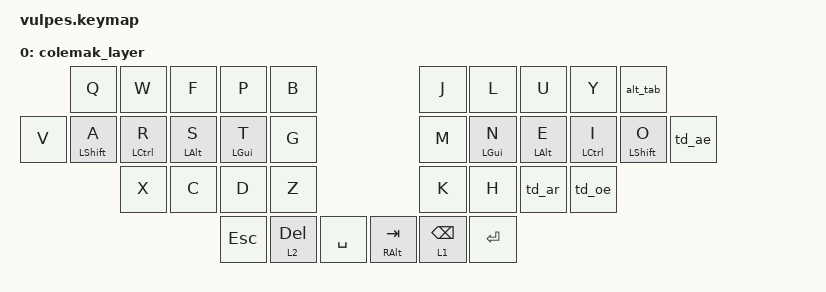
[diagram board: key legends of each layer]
#include <behaviors.dtsi>
#include <dt-bindings/zmk/keys.h>
#include <dt-bindings/zmk/bt.h>
#include <dt-bindings/zmk/outputs.h>

/ {
    behaviors {
        hm: homerow_mods {
            compatible = "zmk,behavior-hold-tap";
            label = "HOMEROW_MODS";
            #binding-cells = <2>;
            tapping-term-ms = <180>;
            quick-tap-ms = <50>;
            flavor = "balanced";
            bindings = <&kp>, <&kp>;
        };

        td_ar: td_ar {
            compatible = "zmk,behavior-tap-dance";
            label = "TD_AR";
            #binding-cells = <0>;
            tapping-term-ms = <200>;
            bindings = <&kp COMMA>, <&kp LBRC>;
        };

        td_ae: td_ae {
            compatible = "zmk,behavior-tap-dance";
            label = "TD_AE";
            #binding-cells = <0>;
            tapping-term-ms = <200>;
            bindings = <&kp DOT>, <&kp SEMI>;
        };

        td_oe: td_oe {
            compatible = "zmk,behavior-tap-dance";
            label = "TD_OE";
            #binding-cells = <0>;
            tapping-term-ms = <200>;
            bindings = <&kp FSLH>, <&kp SQT>;
        };
    };


    combos {
        compatible = "zmk,combos";
        timeout-ms = <50>;
        combo_grave { key-positions = <0 12>;  bindings = <&kp GRAVE>; layers = <0>; };
        combo_lpar  { key-positions = <3 4>;   bindings = <&kp LPAR>; layers = <0>; };
        combo_rpar  { key-positions = <7 8>;   bindings = <&kp RPAR>; layers = <0>; };
        combo_lbrc  { key-positions = <15 16>; bindings = <&kp LBRC>; layers = <0>; };
        combo_rbrc  { key-positions = <19 20>; bindings = <&kp RBRC>; layers = <0>; };
        combo_lbkt  { key-positions = <27 28>; bindings = <&kp LBKT>; layers = <0>; };
        combo_rbkt  { key-positions = <31 32>; bindings = <&kp RBKT>; layers = <0>; };
        combo_tilde { key-positions = <11 23>; bindings = <&kp TILDE>; layers = <0>; };
        combo_lt    { key-positions = <14 15>; bindings = <&kp LT>; layers = <0>; };
        combo_gt    { key-positions = <20 21>; bindings = <&kp GT>; layers = <0>; };
        combo_star  { key-positions = <8 9>;   bindings = <&kp STAR>; layers = <0>; };
        combo_qmark { key-positions = <3 15>;  bindings = <&kp QMARK>; layers = <0>; };
        combo_dqt   { key-positions = <15 27>; bindings = <&kp DQT>; layers = <0>; };
        combo_equal { key-positions = <32 33>; bindings = <&kp EQUAL>; layers = <0>; };
        combo_slash { key-positions = <25 26>; bindings = <&kp SLASH>; layers = <0>; };
        combo_bslh  { key-positions = <33 34>; bindings = <&kp BSLH>; layers = <0>; };
        combo_dllr  { key-positions = <26 27>; bindings = <&kp DLLR>; layers = <0>; };
        combo_at    { key-positions = <12 25>; bindings = <&kp AT>; layers = <0>; };
        combo_excl  { key-positions = <8 20>;  bindings = <&kp EXCL>; layers = <0>; };
        combo_sqt   { key-positions = <20 32>; bindings = <&kp SQT>; layers = <0>; };
        combo_plus  { key-positions = <23 35>; bindings = <&kp PLUS>; layers = <0>; };
        combo_hash  { key-positions = <2 3>;   bindings = <&kp HASH>; layers = <0>; };
        combo_ampr  { key-positions = <1 2>;   bindings = <&kp AMPS>; layers = <0>; };
        combo_l3    { key-positions = <17 18>; bindings = <&mo 3>; layers = <0>; };
        combo_save  { key-positions = <2 14>;  bindings = <&kp LA(S)>; layers = <0>; };
        combo_b     { key-positions = <1 13>;  bindings = <&kp B>; layers = <0>; };
        combo_j     { key-positions = <9 21>;  bindings = <&kp J>; layers = <0>; };
        combo_k     { key-positions = <10 22>; bindings = <&kp K>; layers = <0>; };
    };

    macros {
        m_dt_left: m_dt_left {
            compatible = "zmk,behavior-macro";
            #binding-cells = <0>;
            bindings = <&macro_press &kp LCTRL &kp LGUI>, <&macro_tap &kp LEFT>, <&macro_release &kp LCTRL &kp LGUI>;
        };
        m_dt_right: m_dt_right {
            compatible = "zmk,behavior-macro";
            #binding-cells = <0>;
            bindings = <&macro_press &kp LCTRL &kp LGUI>, <&macro_tap &kp RIGHT>, <&macro_release &kp LCTRL &kp LGUI>;
        };
        m_dt_win_left: m_dt_win_left {
            compatible = "zmk,behavior-macro";
            #binding-cells = <0>;
            bindings = <&macro_press &kp LCTRL &kp LSHFT &kp LGUI>, <&macro_tap &kp LEFT>, <&macro_release &kp LCTRL &kp LSHFT &kp LGUI>;
        };
        m_dt_win_right: m_dt_win_right {
            compatible = "zmk,behavior-macro";
            #binding-cells = <0>;
            bindings = <&macro_press &kp LCTRL &kp LSHFT &kp LGUI>, <&macro_tap &kp RIGHT>, <&macro_release &kp LCTRL &kp LSHFT &kp LGUI>;
        };
        m_win_left: m_win_left {
            compatible = "zmk,behavior-macro";
            #binding-cells = <0>;
            bindings = <&macro_press &kp LSHFT &kp LGUI>, <&macro_tap &kp LEFT>, <&macro_release &kp LSHFT &kp LGUI>;
        };
        m_win_right: m_win_right {
            compatible = "zmk,behavior-macro";
            #binding-cells = <0>;
            bindings = <&macro_press &kp LSHFT &kp LGUI>, <&macro_tap &kp RIGHT>, <&macro_release &kp LSHFT &kp LGUI>;
        };
        m_win_up: m_win_up {
            compatible = "zmk,behavior-macro";
            #binding-cells = <0>;
            bindings = <&macro_press &kp LSHFT &kp LGUI>, <&macro_tap &kp UP>, <&macro_release &kp LSHFT &kp LGUI>;
        };
        m_win_down: m_win_down {
            compatible = "zmk,behavior-macro";
            #binding-cells = <0>;
            bindings = <&macro_press &kp LSHFT &kp LGUI>, <&macro_tap &kp DOWN>, <&macro_release &kp LSHFT &kp LGUI>;
        };
        m_fo_ulck: m_fo_ulck {
            compatible = "zmk,behavior-macro";
            #binding-cells = <0>;
            wait-ms = <10>;
            tap-ms = <10>;
            bindings = <&kp U &kp N &kp L &kp O &kp C &kp K &kp ENTER>;
        };
        m_fo_dis: m_fo_dis {
            compatible = "zmk,behavior-macro";
            #binding-cells = <0>;
            bindings = <&kp D &kp I &kp S &kp A &kp B &kp L &kp E &kp ENTER>;
        };
        m_fo_tgm: m_fo_tgm {
            compatible = "zmk,behavior-macro";
            #binding-cells = <0>;
            bindings = <&kp T &kp G &kp M &kp ENTER>;
        };
        m_fo_tcl: m_fo_tcl {
            compatible = "zmk,behavior-macro";
            #binding-cells = <0>;
            bindings = <&kp T &kp C &kp L &kp ENTER>;
        };
        alt_tab: alt_tab {
            compatible = "zmk,behavior-macro";
            #binding-cells = <0>;
            bindings = <&macro_press &kp LALT>, <&macro_tap &kp TAB>, <&macro_pause_for_release>, <&macro_release &kp LALT>;
        };
    };

    keymap {
        compatible = "zmk,keymap";

        colemak_layer {
            bindings = <
// &kp Q        &kp W        &kp F        &kp P        &kp B        &kp ESC      &mt RALT TAB &kp J        &kp L        &kp U        &kp Y        &alt_tab
// &hm LSHFT A  &hm LCTRL R  &hm LALT S   &hm LGUI T   &kp G        &lt 2 DEL    &lt 1 BSPC   &kp M        &hm LGUI N   &hm LALT E   &hm LCTRL I  &hm LSHFT O
// &kp V        &kp X        &kp C        &kp D        &kp Z        &kp SPACE    &kp ENTER    &kp K        &kp H        &td_ar       &td_oe       &td_ae
        &kp Q        &kp W        &kp F        &kp P        &kp B                                        &kp J        &kp L        &kp U        &kp Y        &alt_tab
&kp V   &hm LSHFT A  &hm LCTRL R  &hm LALT S   &hm LGUI T   &kp G                                        &kp M        &hm LGUI N   &hm LALT E   &hm LCTRL I  &hm LSHFT O   &td_ae
                     &kp X        &kp C        &kp D        &kp Z                                        &kp K        &kp H        &td_ar       &td_oe       
                                               &kp ESC      &lt 2 DEL   &kp SPACE         &mt RALT TAB   &lt 1 BSPC   &kp ENTER
            >;
        };

//         numnav_layer {
//             bindings = <
// // &kp N1       &kp N2       &kp N3       &kp N4       &kp EQUAL    &trans       &trans       &kp VOL_UP   &kp STOP     &kp PLAY     &kp NEXT     &kp PREV
// // &kp N5       &kp N6       &kp N7       &kp N8       &kp RBRC     &trans       &trans       &kp MUTE     &kp LEFT     &kp DOWN     &kp UP       &kp RIGHT
// // &kp LS(EQUAL) &kp N9      &kp N0       &kp MINUS    &kp BSLH     &trans       &trans       &kp VOL_DN   &kp HOME     &none        &kp END      &none
//               &kp N1       &kp N2       &kp N3       &kp N4       &kp EQUAL                              &kp VOL_UP   &kp STOP     &kp PLAY     &kp NEXT     &kp PREV
// &kp LS(EQUAL) &kp N5       &kp N6       &kp N7       &kp N8       &kp RBRC                               &kp MUTE     &kp LEFT     &kp DOWN     &kp UP       &kp RIGHT   &none
//                            &kp N9       &kp N0       &kp MINUS    &kp BSLH                               &kp VOL_DN   &kp HOME     &none        &kp END      
//                                                      &trans       &trans      &trans            &trans   &trans       &trans
//             >;
//         };
//
//         mousedesk_layer {
//             bindings = <
// // &mo 3        &none        &none        &none        &none        &trans       &trans       &none        &none        &none        &none        &trans
// // &kp K_BACK   &none        &none        &none        &none        &kp K_FWD    &trans       &m_win_left  &m_win_down  &m_win_up    &m_win_right &to 4
// // &kp PSCRN    &none        &none        &none        &none        &trans       &trans       &m_dt_left   &m_dt_win_left &m_dt_win_right &m_dt_right &to 0
//              &mo 4        &none       &none       &none       &none                                   &none        &none          &none           &none        &trans
// &kp PSCRN    &kp K_BACK   &none       &none       &none       &kp K_FWD                               &m_win_left  &m_win_down    &m_win_up       &m_win_right &to 4    &to 0
//                           &none       &none       &none       &none                                   &m_dt_left   &m_dt_win_left &m_dt_win_right &m_dt_right
//                                                   &trans      &trans      &trans             &trans   &trans       &trans
//             >;
//         };
//
//         npadfunc_layer {
//             bindings = <
// // &kp KP_N1    &kp KP_N2    &kp KP_N3    &kp KP_N4    &none        &trans       &trans       &kp F1       &kp F2       &kp F3       &kp F4       &sys_reset
// // &kp KP_N5    &kp KP_N6    &kp KP_N7    &kp KP_N8    &none        &trans       &trans       &kp F5       &kp F6       &kp F7       &kp F8       &none
// // &none        &kp KP_N9    &kp KP_N0    &kp NUM      &none        &trans       &trans       &kp F9       &kp F10      &kp F11      &kp F12      &bootloader
//         &kp KP_N1    &kp KP_N2    &kp KP_N3    &kp KP_N4    &none                                        &kp F1       &kp F2       &kp F3       &kp F4       &sys_reset
// &none   &kp KP_N5    &kp KP_N6    &kp KP_N7    &kp KP_N8    &none                                        &kp F5       &kp F6       &kp F7       &kp F8       &none       &bootloader
//                      &kp KP_N9    &kp KP_N0    &kp NUM      &none                                        &kp F9       &kp F10      &kp F11      &kp F12      
//                                                &trans       &trans        &trans                  &trans   &trans       &trans
//             >;
//         };
//
//         fo4_layer {
//             bindings = <
// // &kp TAB      &kp Q        &kp W        &kp E        &kp R        &kp F9       &m_fo_ulck   &m_fo_dis    &none        &none        &none        &none
// // &kp LCTRL    &kp A        &kp S        &kp D        &kp T        &kp F5       &m_fo_tgm    &m_fo_tcl    &none        &none        &none        &kp GRAVE
// // &kp LSHFT    &kp N1       &kp N2       &kp N3       &kp N4       &kp SPACE    &kp V        &kp M        &none        &none        &none        &to 0
//             &kp TAB      &kp Q        &kp W        &kp E        &kp R                                    &m_fo_ulck   &m_fo_dis    &none        &none        &none
// &kp LSHFT   &kp LCTRL    &kp A        &kp S        &kp D        &kp T                                    &m_fo_tgm    &m_fo_tcl    &none        &none        &kp GRAVE  &to 0
//                          &kp N1       &kp N2       &kp N3       &kp N4                                   &kp V        &kp M        &none        &none        
//                                                    &kp F9       &kp F5    &kp SPACE           &trans     &trans       &trans
//             >;
//         };
    };
};
